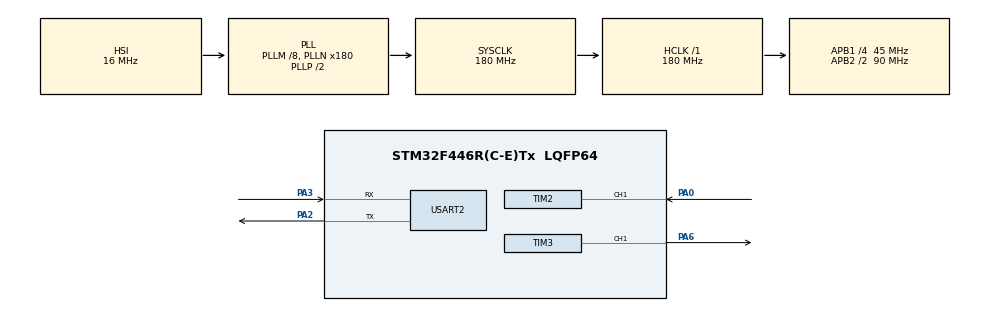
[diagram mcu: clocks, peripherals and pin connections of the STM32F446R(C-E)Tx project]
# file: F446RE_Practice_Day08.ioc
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Mcu.Family=STM32F4
Mcu.Name=STM32F446R(C-E)Tx
Mcu.Package=LQFP64
NVIC.PriorityGroup=NVIC_PRIORITYGROUP_4
NVIC.TIM2_IRQn=true\:0\:0\:false\:false\:true\:true\:true\:true
PA0-WKUP.Signal=S_TIM2_CH1_ETR
PA13.Mode=Serial_Wire
PA13.Signal=SYS_JTMS-SWDIO
PA14.Mode=Serial_Wire
PA14.Signal=SYS_JTCK-SWCLK
PA2.Mode=Asynchronous
PA2.Signal=USART2_TX
PA3.Mode=Asynchronous
PA3.Signal=USART2_RX
PA6.Signal=S_TIM3_CH1
ProjectManager.HeapSize=0x200
ProjectManager.StackSize=0x400
ProjectManager.TargetToolchain=STM32CubeIDE
RCC.AHBFreq_Value=180000000
RCC.APB1CLKDivider=RCC_HCLK_DIV4
RCC.APB1Freq_Value=45000000
RCC.APB1TimFreq_Value=90000000
RCC.APB2CLKDivider=RCC_HCLK_DIV2
RCC.APB2Freq_Value=90000000
RCC.APB2TimFreq_Value=180000000
RCC.CortexFreq_Value=180000000
RCC.HCLKFreq_Value=180000000
RCC.PLLM=8
RCC.PLLN=180
RCC.SYSCLKFreq_VALUE=180000000
RCC.SYSCLKSource=RCC_SYSCLKSOURCE_PLLCLK
RCC.USBFreq_Value=180000000
RCC.VCOOutputFreq_Value=360000000
SH.S_TIM2_CH1_ETR.0=TIM2_CH1,Input_Capture1_from_TI1
SH.S_TIM2_CH1_ETR.1=TIM2_CH1,TriggerSource_TI1FP1
SH.S_TIM3_CH1.0=TIM3_CH1,PWM Generation1 CH1
TIM2.Channel-Input_Capture1_from_TI1=TIM_CHANNEL_1
TIM2.Channel-Input_Capture2_from_TI1_63=TIM_CHANNEL_2
TIM2.ICPolarity_CH1=TIM_INPUTCHANNELPOLARITY_RISING
TIM2.ICPolarity_CH2=TIM_INPUTCHANNELPOLARITY_FALLING
TIM2.Period=0xffffffff
TIM2.Prescaler=89
TIM2.TIM_MasterSlaveMode=TIM_MASTERSLAVEMODE_DISABLE
TIM3.Channel-PWM\ Generation1\ CH1=TIM_CHANNEL_1
TIM3.Period=999
TIM3.Prescaler=89
TIM3.Pulse-PWM\ Generation1\ CH1=250
USART2.VirtualMode=VM_ASYNC
VP_TIM2_VS_ClockSourceINT.Mode=Internal
VP_TIM2_VS_ControllerModeReset.Mode=Reset Mode
VP_TIM2_VS_indirect_ch1.Mode=Input_Capture2_from_TI1_63
VP_TIM3_VS_ClockSourceINT.Mode=Internal
board=custom

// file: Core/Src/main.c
/* USER CODE BEGIN Header */
/**
  ******************************************************************************
  * @file           : main.c
  * @brief          : Main program body
  ******************************************************************************
  * @attention
  *
  * Copyright (c) 2026 STMicroelectronics.
  * All rights reserved.
  *
  * This software is licensed under terms that can be found in the LICENSE file
  * in the root directory of this software component.
  * If no LICENSE file comes with this software, it is provided AS-IS.
  *
  ******************************************************************************
  */
/* USER CODE END Header */
#include "main.h"

TIM_HandleTypeDef htim2;
TIM_HandleTypeDef htim3;

UART_HandleTypeDef huart2;

/* USER CODE BEGIN PV */

volatile uint32_t pwm_period_count = 0U;
volatile uint32_t pwm_high_count = 0U;

volatile uint32_t pwm_frequency_hz = 0U;
volatile uint32_t pwm_duty_x100 = 0U;

volatile uint32_t capture_count = 0U;
volatile uint32_t capture_error_count = 0U;

/* USER CODE END PV */

void SystemClock_Config(void);
static void MX_GPIO_Init(void);
static void MX_TIM2_Init(void);
static void MX_TIM3_Init(void);
static void MX_USART2_UART_Init(void);

int main(void)
{

  /* MCU Configuration--------------------------------------------------------*/

  /* Reset of all peripherals, Initializes the Flash interface and the Systick. */
  HAL_Init();

  /* Configure the system clock */
  SystemClock_Config();

  /* Initialize all configured peripherals */
  MX_GPIO_Init();
  MX_TIM2_Init();
  MX_TIM3_Init();
  MX_USART2_UART_Init();
  /* USER CODE BEGIN 2 */

  if (HAL_TIM_PWM_Start(
          &htim3,
          TIM_CHANNEL_1) != HAL_OK)
  {
      Error_Handler();
  }

  if (HAL_TIM_IC_Start_IT(
          &htim2,
          TIM_CHANNEL_1) != HAL_OK)
  {
      Error_Handler();
  }

  if (HAL_TIM_IC_Start_IT(
          &htim2,
          TIM_CHANNEL_2) != HAL_OK)
  {
      Error_Handler();
  }

  /* USER CODE END 2 */

  /* Infinite loop */
  while (1)
  {

    /* USER CODE BEGIN 3 */

	  /*
	  * 可以在這裡處理通訊、控制邏輯或 RTOS Task。
	  * PWM 量測由 Timer 硬體與中斷完成。
	  */

  }
  /* USER CODE END 3 */
}

void SystemClock_Config(void)
{
  RCC_OscInitTypeDef RCC_OscInitStruct = {0};
  RCC_ClkInitTypeDef RCC_ClkInitStruct = {0};

  /** Configure the main internal regulator output voltage
  */
  __HAL_RCC_PWR_CLK_ENABLE();
  __HAL_PWR_VOLTAGESCALING_CONFIG(PWR_REGULATOR_VOLTAGE_SCALE1);

  /** Initializes the RCC Oscillators according to the specified parameters
  * in the RCC_OscInitTypeDef structure.
  */
  RCC_OscInitStruct.OscillatorType = RCC_OSCILLATORTYPE_HSI;
  RCC_OscInitStruct.HSIState = RCC_HSI_ON;
  RCC_OscInitStruct.HSICalibrationValue = RCC_HSICALIBRATION_DEFAULT;
  RCC_OscInitStruct.PLL.PLLState = RCC_PLL_ON;
  RCC_OscInitStruct.PLL.PLLSource = RCC_PLLSOURCE_HSI;
  RCC_OscInitStruct.PLL.PLLM = 8;
  RCC_OscInitStruct.PLL.PLLN = 180;
  RCC_OscInitStruct.PLL.PLLP = RCC_PLLP_DIV2;
  RCC_OscInitStruct.PLL.PLLQ = 2;
  RCC_OscInitStruct.PLL.PLLR = 2;
  if (HAL_RCC_OscConfig(&RCC_OscInitStruct) != HAL_OK)
  {
    Error_Handler();
  }

  /** Activate the Over-Drive mode
  */
  if (HAL_PWREx_EnableOverDrive() != HAL_OK)
  {
    Error_Handler();
  }

  /** Initializes the CPU, AHB and APB buses clocks
  */
  RCC_ClkInitStruct.ClockType = RCC_CLOCKTYPE_HCLK|RCC_CLOCKTYPE_SYSCLK
                              |RCC_CLOCKTYPE_PCLK1|RCC_CLOCKTYPE_PCLK2;
  RCC_ClkInitStruct.SYSCLKSource = RCC_SYSCLKSOURCE_PLLCLK;
  RCC_ClkInitStruct.AHBCLKDivider = RCC_SYSCLK_DIV1;
  RCC_ClkInitStruct.APB1CLKDivider = RCC_HCLK_DIV4;
  RCC_ClkInitStruct.APB2CLKDivider = RCC_HCLK_DIV2;

  if (HAL_RCC_ClockConfig(&RCC_ClkInitStruct, FLASH_LATENCY_5) != HAL_OK)
  {
    Error_Handler();
  }
}

static void MX_TIM2_Init(void)
{

  TIM_ClockConfigTypeDef sClockSourceConfig = {0};
  TIM_SlaveConfigTypeDef sSlaveConfig = {0};
  TIM_MasterConfigTypeDef sMasterConfig = {0};
  TIM_IC_InitTypeDef sConfigIC = {0};

  htim2.Instance = TIM2;
  htim2.Init.Prescaler = 89;
  htim2.Init.CounterMode = TIM_COUNTERMODE_UP;
  htim2.Init.Period = 0xffffffff;
  htim2.Init.ClockDivision = TIM_CLOCKDIVISION_DIV1;
  htim2.Init.AutoReloadPreload = TIM_AUTORELOAD_PRELOAD_DISABLE;
  if (HAL_TIM_Base_Init(&htim2) != HAL_OK)
  {
    Error_Handler();
  }
  sClockSourceConfig.ClockSource = TIM_CLOCKSOURCE_INTERNAL;
  if (HAL_TIM_ConfigClockSource(&htim2, &sClockSourceConfig) != HAL_OK)
  {
    Error_Handler();
  }
  if (HAL_TIM_IC_Init(&htim2) != HAL_OK)
  {
    Error_Handler();
  }
  sSlaveConfig.SlaveMode = TIM_SLAVEMODE_RESET;
  sSlaveConfig.InputTrigger = TIM_TS_TI1FP1;
  sSlaveConfig.TriggerPolarity = TIM_INPUTCHANNELPOLARITY_RISING;
  sSlaveConfig.TriggerFilter = 0;
  if (HAL_TIM_SlaveConfigSynchro(&htim2, &sSlaveConfig) != HAL_OK)
  {
    Error_Handler();
  }
  sMasterConfig.MasterOutputTrigger = TIM_TRGO_RESET;
  sMasterConfig.MasterSlaveMode = TIM_MASTERSLAVEMODE_DISABLE;
  if (HAL_TIMEx_MasterConfigSynchronization(&htim2, &sMasterConfig) != HAL_OK)
  {
    Error_Handler();
  }
  sConfigIC.ICPolarity = TIM_INPUTCHANNELPOLARITY_RISING;
  sConfigIC.ICSelection = TIM_ICSELECTION_DIRECTTI;
  sConfigIC.ICPrescaler = TIM_ICPSC_DIV1;
  sConfigIC.ICFilter = 0;
  if (HAL_TIM_IC_ConfigChannel(&htim2, &sConfigIC, TIM_CHANNEL_1) != HAL_OK)
  {
    Error_Handler();
  }
  sConfigIC.ICPolarity = TIM_INPUTCHANNELPOLARITY_FALLING;
  sConfigIC.ICSelection = TIM_ICSELECTION_INDIRECTTI;
  if (HAL_TIM_IC_ConfigChannel(&htim2, &sConfigIC, TIM_CHANNEL_2) != HAL_OK)
  {
    Error_Handler();
  }

}

static void MX_TIM3_Init(void)
{

  TIM_ClockConfigTypeDef sClockSourceConfig = {0};
  TIM_MasterConfigTypeDef sMasterConfig = {0};
  TIM_OC_InitTypeDef sConfigOC = {0};

  htim3.Instance = TIM3;
  htim3.Init.Prescaler = 89;
  htim3.Init.CounterMode = TIM_COUNTERMODE_UP;
  htim3.Init.Period = 999;
  htim3.Init.ClockDivision = TIM_CLOCKDIVISION_DIV1;
  htim3.Init.AutoReloadPreload = TIM_AUTORELOAD_PRELOAD_DISABLE;
  if (HAL_TIM_Base_Init(&htim3) != HAL_OK)
  {
    Error_Handler();
  }
  sClockSourceConfig.ClockSource = TIM_CLOCKSOURCE_INTERNAL;
  if (HAL_TIM_ConfigClockSource(&htim3, &sClockSourceConfig) != HAL_OK)
  {
    Error_Handler();
  }
  if (HAL_TIM_PWM_Init(&htim3) != HAL_OK)
  {
    Error_Handler();
  }
  sMasterConfig.MasterOutputTrigger = TIM_TRGO_RESET;
  sMasterConfig.MasterSlaveMode = TIM_MASTERSLAVEMODE_DISABLE;
  if (HAL_TIMEx_MasterConfigSynchronization(&htim3, &sMasterConfig) != HAL_OK)
  {
    Error_Handler();
  }
  sConfigOC.OCMode = TIM_OCMODE_PWM1;
  sConfigOC.Pulse = 250;
  sConfigOC.OCPolarity = TIM_OCPOLARITY_HIGH;
  sConfigOC.OCFastMode = TIM_OCFAST_DISABLE;
  if (HAL_TIM_PWM_ConfigChannel(&htim3, &sConfigOC, TIM_CHANNEL_1) != HAL_OK)
  {
    Error_Handler();
  }
  HAL_TIM_MspPostInit(&htim3);

}

static void MX_USART2_UART_Init(void)
{

  huart2.Instance = USART2;
  huart2.Init.BaudRate = 115200;
  huart2.Init.WordLength = UART_WORDLENGTH_8B;
  huart2.Init.StopBits = UART_STOPBITS_1;
  huart2.Init.Parity = UART_PARITY_NONE;
  huart2.Init.Mode = UART_MODE_TX_RX;
  huart2.Init.HwFlowCtl = UART_HWCONTROL_NONE;
  huart2.Init.OverSampling = UART_OVERSAMPLING_16;
  if (HAL_UART_Init(&huart2) != HAL_OK)
  {
    Error_Handler();
  }

}

static void MX_GPIO_Init(void)
{

  /* GPIO Ports Clock Enable */
  __HAL_RCC_GPIOA_CLK_ENABLE();

}

/* USER CODE BEGIN 4 */

void HAL_TIM_IC_CaptureCallback(TIM_HandleTypeDef *htim)
{
    if ((htim->Instance == TIM2) &&
        (htim->Channel == HAL_TIM_ACTIVE_CHANNEL_1))
    {
        uint32_t period =
            HAL_TIM_ReadCapturedValue(
                htim,
                TIM_CHANNEL_1);

        uint32_t high_time =
            HAL_TIM_ReadCapturedValue(
                htim,
                TIM_CHANNEL_2);

        if ((period > 0U) &&
            (high_time <= period))
        {
            pwm_period_count = period;
            pwm_high_count = high_time;

            /*
             * TIM2 Counter Clock = 1 MHz。
             */
            pwm_frequency_hz =
                1000000U / period;

            /*
             * Duty × 100，例如 2500 代表 25.00%。
             */
            pwm_duty_x100 =
                (high_time * 10000U) / period;

            capture_count++;
        }
        else
        {
            capture_error_count++;
        }
    }
}

/* USER CODE END 4 */

void Error_Handler(void)
{
  __disable_irq();
  while (1)
  {
  }
}
